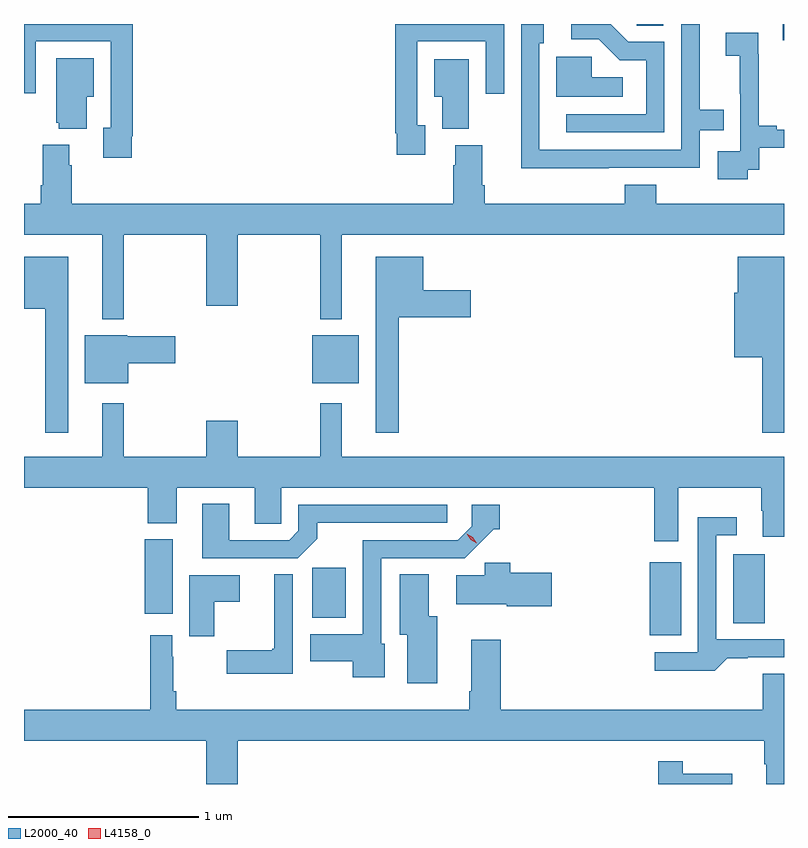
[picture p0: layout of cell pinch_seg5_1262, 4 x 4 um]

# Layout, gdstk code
import gdstk
lib = gdstk.Library(unit=1e-6, precision=1e-09)
def R(c, l, rs):  # rectangles x0, y0, x1, y1
    for r in rs: c.add(gdstk.rectangle(r[:2], r[2:], *l))
def P(c, l, *ps):  # polygons
    for p in ps: c.add(gdstk.Polygon(p, *l))
L2000_40 = (2000, 40)
L4158_0 = (4158, 0)

pinch_seg5_1262 = lib.new_cell('pinch_seg5_1262')
R(pinch_seg5_1262, L2000_40, [(395.114,845.327,395.278,845.713), (395.552,845.392,395.719,845.755), (393.338,845.42,393.514,845.684), (392.456,845.441,392.602,845.832), (393.338,846.653,393.583,846.907), (395.814,848.46,395.82,848.545), (395.046,848.536,395.185,848.545)])
P(pinch_seg5_1262, L2000_40, [(393.931,848.013),(393.891,848.013),(393.891,848.454),(394.251,848.454),(394.251,848.178),(394.347,848.178),(394.347,848.545),(393.775,848.545),(393.775,847.969),(393.783,847.969),(393.783,847.857),(393.931,847.857)],
  [(395.19,848.451),(395.001,848.451),(394.907,848.545),(394.701,848.545),(394.701,848.466),(394.845,848.466),(394.956,848.355),(395.094,848.355),(395.094,848.07),(394.674,848.07),(394.674,847.974),(395.19,847.974)],
  [(394.898,847.788),(395.376,847.788),(395.376,847.986),(395.504,847.986),(395.504,848.095),(395.377,848.095),(395.377,848.545),(395.28,848.545),(395.28,847.884),(394.533,847.884),(394.533,848.445),(394.555,848.445),(394.555,848.545),(394.437,848.545),(394.437,848.09),(394.436,848.09),(394.436,847.787),(394.898,847.787)],
  [(392.386,847.954),(392.393,847.954),(392.393,848.545),(391.82,848.545),(391.82,848.181),(391.881,848.181),(391.881,848.454),(392.277,848.454),(392.277,847.998),(392.237,847.998),(392.237,847.842),(392.386,847.842)],
  [(395.628,847.779),(395.69,847.779),(395.69,847.893),(395.82,847.893),(395.82,847.989),(395.782,847.989),(395.782,848.009),(395.686,848.009),(395.686,848.387),(395.684,848.387),(395.684,848.498),(395.514,848.498),(395.514,848.377),(395.588,848.377),(395.588,848.179),(395.589,848.179),(395.589,847.875),(395.472,847.875),(395.472,847.728),(395.628,847.728)],
  [(394.972,848.266),(394.809,848.266),(394.809,848.373),(394.622,848.373),(394.622,848.162),(394.972,848.162)],
  [(392.149,848.162),(392.188,848.162),(392.188,848.365),(391.991,848.365),(391.991,848.025),(392.003,848.025),(392.003,847.994),(392.149,847.994)],
  [(394.162,848.359),(393.98,848.359),(393.98,848.162),(394.022,848.162),(394.022,847.993),(394.162,847.993)],
  [(392.345,847.436),(392.78,847.436),(392.78,847.062),(392.944,847.062),(392.944,847.436),(393.379,847.436),(393.379,846.992),(393.493,846.992),(393.493,847.436),(395.82,847.436),(395.82,847.6),(395.147,847.6),(395.147,847.699),(394.982,847.699),(394.982,847.6),(394.244,847.6),(394.244,847.696),(394.231,847.696),(394.231,847.908),(394.091,847.908),(394.091,847.802),(394.079,847.802),(394.079,847.6),(392.072,847.6),(392.072,847.802),(392.059,847.802),(392.059,847.909),(391.919,847.909),(391.919,847.696),(391.907,847.696),(391.907,847.6),(391.82,847.6),(391.82,847.436),(392.231,847.436),(392.231,846.992),(392.345,846.992)],
  [(392.053,847.321),(391.82,847.321),(391.82,847.046),(391.932,847.046),(391.932,846.393),(392.053,846.393)],
  [(393.793,847.001),(394.171,847.001),(394.171,847.143),(393.922,847.143),(393.922,847.321),(393.671,847.321),(393.671,846.393),(393.793,846.393)],
  [(395.82,847.321),(395.576,847.321),(395.576,847.131),(395.558,847.131),(395.558,846.791),(395.706,846.791),(395.706,846.393),(395.82,846.393)],
  [(392.368,846.76),(392.617,846.76),(392.617,846.902),(392.364,846.902),(392.364,846.907),(392.141,846.907),(392.141,846.653),(392.368,846.653)],
  [(395.263,846.104),(395.701,846.104),(395.701,845.984),(395.708,845.984),(395.708,845.847),(395.82,845.847),(395.82,846.268),(393.493,846.268),(393.493,846.55),(393.379,846.55),(393.379,846.268),(392.944,846.268),(392.944,846.457),(392.78,846.457),(392.78,846.268),(392.345,846.268),(392.345,846.55),(392.231,846.55),(392.231,846.268),(391.82,846.268),(391.82,846.104),(392.471,846.104),(392.471,845.917),(392.623,845.917),(392.623,846.104),(393.035,846.104),(393.035,845.914),(393.174,845.914),(393.174,846.104),(395.138,846.104),(395.138,845.823),(395.263,845.823)],
  [(393.363,845.835),(393.363,845.919),(394.048,845.919),(394.048,846.015),(393.264,846.015),(393.264,845.877),(393.216,845.829),(392.899,845.829),(392.899,846.019),(392.759,846.019),(392.759,845.733),(393.261,845.733)],
  [(393.718,845.283),(393.699,845.283),(393.699,845.733),(394.14,845.733),(394.292,845.885),(394.324,845.885),(394.324,846.015),(394.176,846.015),(394.176,845.901),(394.104,845.829),(393.603,845.829),(393.603,845.332),(393.327,845.332),(393.327,845.192),(393.55,845.192),(393.55,845.108),(393.718,845.108)],
  [(395.521,845.206),(395.629,845.206),(395.629,845.211),(395.82,845.211),(395.82,845.307),(395.463,845.307),(395.463,845.853),(395.572,845.853),(395.572,845.95),(395.367,845.95),(395.367,845.238),(395.139,845.238),(395.139,845.141),(395.456,845.141)],
  [(394.597,845.658),(394.379,845.658),(394.379,845.709),(394.245,845.709),(394.245,845.644),(394.095,845.644),(394.095,845.492),(394.362,845.492),(394.362,845.48),(394.597,845.48)],
  [(393.994,845.428),(393.949,845.428),(393.949,845.648),(393.797,845.648),(393.797,845.33),(393.836,845.33),(393.836,845.076),(393.994,845.076)],
  [(393.234,845.648),(393.137,845.648),(393.137,845.256),(393.126,845.256),(393.126,845.248),(392.886,845.248),(392.886,845.126),(393.234,845.126)],
  [(392.82,845.504),(392.956,845.504),(392.956,845.644),(392.69,845.644),(392.69,845.322),(392.82,845.322)],
  [(395.715,844.649),(395.726,844.649),(395.726,844.545),(395.82,844.545),(395.82,845.126),(395.708,845.126),(395.708,844.936),(394.328,844.936),(394.328,845.305),(394.175,845.305),(394.175,845.032),(394.163,845.032),(394.163,844.936),(392.621,844.936),(392.621,845.032),(392.606,845.032),(392.606,845.216),(392.601,845.216),(392.601,845.329),(392.485,845.329),(392.485,844.936),(391.82,844.936),(391.82,844.772),(392.78,844.772),(392.78,844.545),(392.944,844.545),(392.944,844.772),(395.715,844.772)],
  [(395.548,844.6),(395.287,844.6),(395.287,844.666),(395.158,844.666),(395.158,844.545),(395.548,844.545)])
P(pinch_seg5_1262, L4158_0, [(394.202,845.813),(394.17,845.83),(394.15,845.862),(394.15,845.862),(394.15,845.862),(394.183,845.845),(394.203,845.813),(394.203,845.813)])

lib.write_gds('pinch_seg5_1262.gds')
